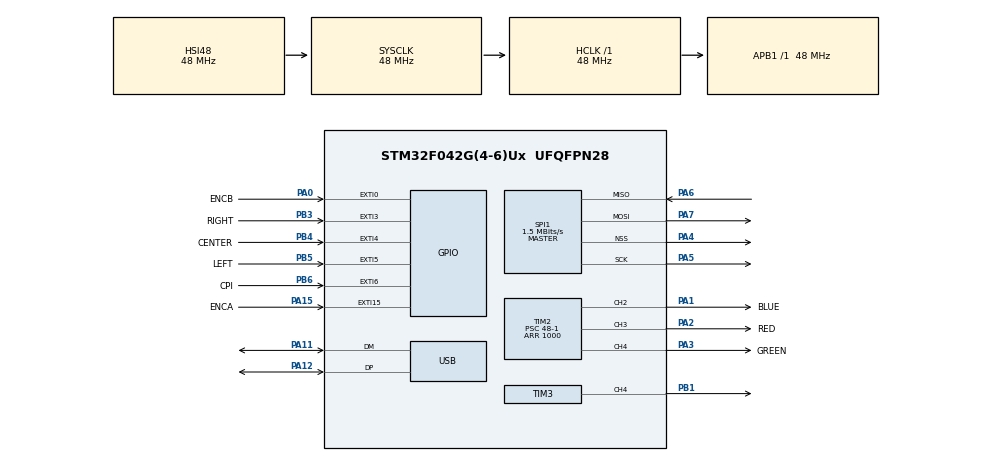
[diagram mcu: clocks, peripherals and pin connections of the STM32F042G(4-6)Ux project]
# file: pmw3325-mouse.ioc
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Mcu.Family=STM32F0
Mcu.Name=STM32F042G(4-6)Ux
Mcu.Package=UFQFPN28
NVIC.EXTI0_1_IRQn=true\:3\:0\:true\:false\:true\:true\:true\:true
NVIC.EXTI2_3_IRQn=true\:0\:0\:false\:false\:true\:true\:true\:true
NVIC.EXTI4_15_IRQn=true\:3\:0\:true\:false\:true\:true\:true\:true
NVIC.SPI1_IRQn=true\:0\:0\:false\:false\:true\:true\:true\:true
NVIC.USB_IRQn=true\:0\:0\:false\:false\:true\:false\:true\:true
PA0.GPIO_Label=ENCB
PA0.GPIO_ModeDefaultEXTI=GPIO_MODE_IT_RISING_FALLING
PA0.GPIO_PuPd=GPIO_PULLUP
PA0.Signal=GPXTI0
PA1.GPIO_Label=BLUE
PA1.Signal=S_TIM2_CH2
PA11.Mode=Device
PA11.Signal=USB_DM
PA12.Mode=Device
PA12.Signal=USB_DP
PA15.GPIO_Label=ENCA
PA15.GPIO_ModeDefaultEXTI=GPIO_MODE_IT_RISING_FALLING
PA15.GPIO_PuPd=GPIO_PULLUP
PA15.Signal=GPXTI15
PA2.GPIO_Label=RED
PA2.Signal=S_TIM2_CH3
PA3.GPIO_Label=GREEN
PA3.Signal=S_TIM2_CH4
PA4.Mode=NSS_Signal_Hard_Output
PA4.Signal=SPI1_NSS
PA5.Mode=Full_Duplex_Master
PA5.Signal=SPI1_SCK
PA6.Mode=Full_Duplex_Master
PA6.Signal=SPI1_MISO
PA7.Mode=Full_Duplex_Master
PA7.Signal=SPI1_MOSI
PB1.Signal=S_TIM3_CH4
PB3.GPIO_Label=RIGHT
PB3.GPIO_ModeDefaultEXTI=GPIO_MODE_IT_RISING_FALLING
PB3.GPIO_PuPd=GPIO_PULLUP
PB3.Signal=GPXTI3
PB4.GPIO_Label=CENTER
PB4.GPIO_ModeDefaultEXTI=GPIO_MODE_IT_RISING_FALLING
PB4.GPIO_PuPd=GPIO_PULLUP
PB4.Signal=GPXTI4
PB5.GPIO_Label=LEFT
PB5.GPIO_ModeDefaultEXTI=GPIO_MODE_IT_RISING_FALLING
PB5.GPIO_PuPd=GPIO_PULLUP
PB5.Signal=GPXTI5
PB6.GPIO_Label=CPI
PB6.GPIO_ModeDefaultEXTI=GPIO_MODE_IT_RISING_FALLING
PB6.GPIO_PuPd=GPIO_PULLUP
PB6.Signal=GPXTI6
ProjectManager.HeapSize=0x200
ProjectManager.StackSize=0x400
ProjectManager.TargetToolchain=CMake
RCC.AHBFreq_Value=48000000
RCC.APB1Freq_Value=48000000
RCC.APB1TimFreq_Value=48000000
RCC.HCLKFreq_Value=48000000
RCC.PLLDivider=RCC_PREDIV_DIV16
RCC.SYSCLKFreq_VALUE=48000000
RCC.SYSCLKSource=RCC_SYSCLKSOURCE_HSI48
RCC.USBFreq_Value=48000000
SH.S_TIM2_CH2.0=TIM2_CH2,PWM Generation2 CH2
SH.S_TIM2_CH3.0=TIM2_CH3,PWM Generation3 CH3
SH.S_TIM2_CH4.0=TIM2_CH4,PWM Generation4 CH4
SH.S_TIM3_CH4.0=TIM3_CH4,PWM Generation4 CH4
SPI1.BaudRatePrescaler=SPI_BAUDRATEPRESCALER_32
SPI1.CLKPhase=SPI_PHASE_2EDGE
SPI1.CLKPolarity=SPI_POLARITY_HIGH
SPI1.CalculateBaudRate=1.5 MBits/s
SPI1.DataSize=SPI_DATASIZE_8BIT
SPI1.Direction=SPI_DIRECTION_2LINES
SPI1.Mode=SPI_MODE_MASTER
SPI1.VirtualNSS=VM_NSSHARD
SPI1.VirtualType=VM_MASTER
TIM2.Channel-PWM\ Generation2\ CH2=TIM_CHANNEL_2
TIM2.Channel-PWM\ Generation3\ CH3=TIM_CHANNEL_3
TIM2.Channel-PWM\ Generation4\ CH4=TIM_CHANNEL_4
TIM2.Period=1000
TIM2.Prescaler=48-1
TIM3.Channel-PWM\ Generation4\ CH4=TIM_CHANNEL_4
TIM3.Period=100
TIM3.Prescaler=24-1
USB_DEVICE.CLASS_NAME_FS=HID
USB_DEVICE.HID_FS_BINTERVAL=0x01
USB_DEVICE.VirtualMode=Hid
USB_DEVICE.VirtualModeFS=Hid_FS
VP_SYS_VS_PINREMAP.Mode=PINREMAP
VP_TIM2_VS_ClockSourceINT.Mode=Internal
VP_TIM3_VS_ClockSourceINT.Mode=Internal
VP_USB_DEVICE_VS_USB_DEVICE_HID_FS.Mode=HID_FS
board=custom

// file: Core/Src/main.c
/* USER CODE BEGIN Header */
/**
 ******************************************************************************
 * @file           : main.c
 * @brief          : Main program body
 ******************************************************************************
 * @attention
 *
 * Copyright (c) 2024 STMicroelectronics.
 * All rights reserved.
 *
 * This software is licensed under terms that can be found in the LICENSE file
 * in the root directory of this software component.
 * If no LICENSE file comes with this software, it is provided AS-IS.
 *
 ******************************************************************************
 */
/* USER CODE END Header */
#include "main.h"
#include "usb_device.h"

/* USER CODE BEGIN Includes */
#include "Rotary.h"
#include "sensor.h"
#include "usbd_hid.h"
#include <stdbool.h>
/* USER CODE END Includes */

SPI_HandleTypeDef hspi1;

TIM_HandleTypeDef htim2;
TIM_HandleTypeDef htim3;

/* USER CODE BEGIN PV */
extern USBD_HandleTypeDef hUsbDeviceFS;
/* USER CODE END PV */

void SystemClock_Config(void);
static void MX_GPIO_Init(void);
static void MX_SPI1_Init(void);
static void MX_TIM2_Init(void);
static void MX_TIM3_Init(void);

/* USER CODE BEGIN 0 */

#define POLLING_MS 1

uint8_t rxDummy = 0x03;

bool buttonLeftPressed = 0;
bool buttonRightPressed = 0;

bool buttonCenterPressed = 0;
bool buttonCPIPressed = 0;

volatile int8_t scrollDirRaw = 0;
volatile uint8_t scrollDir = 0;

bool ENCA = 0;
bool ENCB = 0;

uint8_t HID_Buffer[4];

void processEncoder() {

  ENCA = HAL_GPIO_ReadPin(ENCA_GPIO_Port, ENCA_Pin);
  ENCB = HAL_GPIO_ReadPin(ENCB_GPIO_Port, ENCB_Pin);

  scrollDirRaw = Pin_process(ENCA, ENCB);
  if (scrollDirRaw == DIR_NONE)
    scrollDir = 0x00;
  else
    scrollDir = scrollDirRaw == DIR_CW ? 0x01 : 0xFF;
}

void setVibraPWM(uint8_t value);

void HAL_GPIO_EXTI_Callback(uint16_t GPIO_Pin) {
  switch (GPIO_Pin) {
  case (LEFT_Pin):
    buttonLeftPressed = !HAL_GPIO_ReadPin(LEFT_GPIO_Port, LEFT_Pin);
    break;
  case (RIGHT_Pin):
    buttonRightPressed = !HAL_GPIO_ReadPin(RIGHT_GPIO_Port, RIGHT_Pin);
    break;
  case (CENTER_Pin):
    buttonCenterPressed = !HAL_GPIO_ReadPin(CENTER_GPIO_Port, CENTER_Pin);
    break;
  case (CPI_Pin):
    buttonCPIPressed = !HAL_GPIO_ReadPin(CPI_GPIO_Port, CPI_Pin);
    break;
  case (ENCA_Pin):
    ENCA = HAL_GPIO_ReadPin(ENCA_GPIO_Port, ENCA_Pin);
    break;
  case (ENCB_Pin):
    ENCB = HAL_GPIO_ReadPin(ENCB_GPIO_Port, ENCB_Pin);
    break;
  }
}

void HAL_SPI_TxCpltCallback(SPI_HandleTypeDef *hspi) { sensorTxCallback(); }

void HAL_SPI_RxCpltCallback(SPI_HandleTypeDef *hspi) { sensorRxCallback(); }

uint8_t cpiMode = 0;
bool shouldChangeCPI = 0;
bool doubleClickEnabled = false;
uint32_t lastCpiPressTime = 0;
uint32_t cpiPressStartTime = 0;
bool cpiButtonHeld = false;

#define DEBOUNCE_DELAY 150    // 150 ms debounce delay
#define LONG_PRESS_DELAY 3000 // 3000 ms (3 seconds) long press delay

bool vibraEnabled = true;

void processCPI() {
  uint32_t currentTime = HAL_GetTick();

  if(buttonCPIPressed && buttonLeftPressed) {
    vibraEnabled = false;
    return;
  }

  if(buttonCPIPressed && buttonRightPressed) {
    vibraEnabled = true;
    return;
  }

  if (buttonCPIPressed && !cpiButtonHeld) {
    cpiButtonHeld = true;
    cpiPressStartTime = currentTime;
  }

  if (!buttonCPIPressed && cpiButtonHeld) {
    cpiButtonHeld = false;
    if ((currentTime - lastCpiPressTime) > DEBOUNCE_DELAY) {
    if ((currentTime - lastCpiPressTime) > DEBOUNCE_DELAY) {
      shouldChangeCPI = 1;
      lastCpiPressTime = currentTime;
    }
  }

  if (cpiButtonHeld && (currentTime - cpiPressStartTime) > LONG_PRESS_DELAY) {
    doubleClickEnabled = !doubleClickEnabled;
    cpiButtonHeld = false; // Reset the hold state
  }

  if (shouldChangeCPI) {
    cpiMode++;
    if (cpiMode > 5)
      cpiMode = 0;
    shouldChangeCPI = 0;
    buttonCPIPressed = 0;

    uint8_t reg = RESOLUTION;
    uint8_t data;

    switch (cpiMode) {
    case 0:
      data = 0x00;
      break;
    case 1:
      data = 0x05;
      break;
    case 2:
      data = 0x09;
      break;
    case 3:
      data = 0x17;
      break;
    case 4:
      data = 0x2F;
      break;
    case 5:
      data = 0x5F;
      break;
    }
    sensorWrite(&reg, &data);
  }
}

uint32_t lastReportTime = 0;

// TODO: Implement double click mode
void doubleClick() {}

int8_t signedX;
int8_t signedY;

void setVibraPWM(uint8_t value) {
  if (value > 80)
    value = 80;

  __HAL_TIM_SET_COMPARE(&htim3, TIM_CHANNEL_4, value);
}

uint8_t getVibraPWM(int8_t deltaX, int8_t deltaY) {
  uint8_t absDeltaX = (deltaX < 0) ? -deltaX : deltaX;
  uint8_t absDeltaY = (deltaY < 0) ? -deltaY : deltaY;

  uint8_t sum = absDeltaX + absDeltaY;

  uint8_t vibraPercent;
  if (sum < 10)
    vibraPercent = sum * 10;
  else if (sum < 50)
    vibraPercent = 100 + (sum - 10) * 2;
  else
    vibraPercent = 180 + (sum - 50);

  if (vibraPercent > 70)
    vibraPercent = 70;

  return vibraPercent + 10;
}

bool shouldVibrateButton = 0;
bool buttonPressed = 0;
uint32_t lastButtonVibraTime = 0;
uint32_t buttonPressStartTime = 0;
uint32_t scrollVibraStartTime = 0;
bool scrollVibraActive = 0;

void processVibra() {

  if(!vibraEnabled) {
    __HAL_TIM_SET_COMPARE(&htim3, TIM_CHANNEL_4, 0);
    return;
  }

  signedX = (int8_t)getSensorDeltaX();
  signedY = (int8_t)getSensorDeltaY();

  uint8_t value = (getVibraPWM(signedX, signedY) * 0.7);
  uint32_t currentTime = HAL_GetTick();

  if (buttonLeftPressed || buttonRightPressed || buttonCenterPressed || buttonCPIPressed || scrollDir != 0) {
    if (!buttonPressed) {
      buttonPressed = 1;
      buttonPressStartTime = currentTime;
      shouldVibrateButton = 1;
    }

    if (scrollDir != 0 && !scrollVibraActive) {
      scrollVibraStartTime = currentTime;
      scrollVibraActive = 1;
    }

    if (shouldVibrateButton && (currentTime - buttonPressStartTime) < 60) {
      value = 50;
    } else {
      shouldVibrateButton = 0;
    }

    lastButtonVibraTime = currentTime;
  } else {
    buttonPressed = 0;
    shouldVibrateButton = 0;
  }

  if (scrollVibraActive && (currentTime - scrollVibraStartTime) < 20) {
    value = 60;
  } else {
    scrollVibraActive = 0;
  }

  if (value > 80)
    value = 80;

  __HAL_TIM_SET_COMPARE(&htim3, TIM_CHANNEL_4, value);
}

void processMouse() {
  processCPI();

  if ((HAL_GetTick() - lastReportTime) >= POLLING_MS) {
    lastReportTime = HAL_GetTick();

    processSensor();
    processEncoder();
    processVibra();

    HID_Buffer[0] = 0;
    HID_Buffer[0] = (buttonLeftPressed << 0) | (buttonRightPressed << 1) |
                    (buttonCenterPressed << 2);

    HID_Buffer[1] = getSensorDeltaX();
    HID_Buffer[2] = getSensorDeltaY();
    HID_Buffer[3] = scrollDir;

    USBD_HID_SendReport(&hUsbDeviceFS, HID_Buffer, 4);
  }
}

void initVibra() { HAL_TIM_PWM_Start(&htim3, TIM_CHANNEL_4); }

void initLEDs() {
  HAL_TIM_PWM_Start(&htim2, TIM_CHANNEL_2);
  HAL_TIM_PWM_Start(&htim2, TIM_CHANNEL_3);
  HAL_TIM_PWM_Start(&htim2, TIM_CHANNEL_4);
}

uint32_t lastLEDUpdateTime = 0;
uint16_t pwmValueRed = 1000;
uint16_t pwmValueGreen = 0;
uint16_t pwmValueBlue = 0;
int8_t directionRed = -1;
int8_t directionGreen = 1;
int8_t directionBlue = 0;

void processLEDs() {
  uint32_t currentTime = HAL_GetTick();

  if ((currentTime - lastLEDUpdateTime) >= 10) {
    lastLEDUpdateTime = currentTime;

    pwmValueRed += directionRed;
    pwmValueGreen += directionGreen;
    pwmValueBlue += directionBlue;

    if (pwmValueRed == 1000 && pwmValueGreen == 0 && pwmValueBlue == 0) {
      directionRed = -1;
      directionGreen = 1;
      directionBlue = 0;
    } else if (pwmValueRed == 0 && pwmValueGreen == 1000 && pwmValueBlue == 0) {
      directionRed = 0;
      directionGreen = -1;
      directionBlue = 1;
    } else if (pwmValueRed == 0 && pwmValueGreen == 0 && pwmValueBlue == 1000) {
      directionRed = 1;
      directionGreen = 0;
      directionBlue = -1;
    }

    __HAL_TIM_SET_COMPARE(&htim2, TIM_CHANNEL_2, pwmValueBlue);  // BLUE
    __HAL_TIM_SET_COMPARE(&htim2, TIM_CHANNEL_3, pwmValueRed);   // RED
    __HAL_TIM_SET_COMPARE(&htim2, TIM_CHANNEL_4, pwmValueGreen); // GREEN
  }
}

/* USER CODE END 0 */

int main(void)
{

  /* MCU Configuration--------------------------------------------------------*/

  /* Reset of all peripherals, Initializes the Flash interface and the Systick. */
  HAL_Init();

  /* Configure the system clock */
  SystemClock_Config();

  /* Initialize all configured peripherals */
  MX_GPIO_Init();
  MX_USB_DEVICE_Init();
  MX_SPI1_Init();
  MX_TIM2_Init();
  MX_TIM3_Init();
  /* USER CODE BEGIN 2 */
  powerUpSensor();
  testSensor();
  initLEDs();
  initVibra();
  /* USER CODE END 2 */

  /* Infinite loop */
  /* USER CODE BEGIN WHILE */
  while (1) {
    processMouse();
    processLEDs();
    /* USER CODE END WHILE */

  }
}

void SystemClock_Config(void)
{
  RCC_OscInitTypeDef RCC_OscInitStruct = {0};
  RCC_ClkInitTypeDef RCC_ClkInitStruct = {0};
  RCC_PeriphCLKInitTypeDef PeriphClkInit = {0};

  /** Initializes the RCC Oscillators according to the specified parameters
  * in the RCC_OscInitTypeDef structure.
  */
  RCC_OscInitStruct.OscillatorType = RCC_OSCILLATORTYPE_HSI48;
  RCC_OscInitStruct.HSI48State = RCC_HSI48_ON;
  RCC_OscInitStruct.PLL.PLLState = RCC_PLL_NONE;
  if (HAL_RCC_OscConfig(&RCC_OscInitStruct) != HAL_OK)
  {
    Error_Handler();
  }

  /** Initializes the CPU, AHB and APB buses clocks
  */
  RCC_ClkInitStruct.ClockType = RCC_CLOCKTYPE_HCLK|RCC_CLOCKTYPE_SYSCLK
                              |RCC_CLOCKTYPE_PCLK1;
  RCC_ClkInitStruct.SYSCLKSource = RCC_SYSCLKSOURCE_HSI48;
  RCC_ClkInitStruct.AHBCLKDivider = RCC_SYSCLK_DIV1;
  RCC_ClkInitStruct.APB1CLKDivider = RCC_HCLK_DIV1;

  if (HAL_RCC_ClockConfig(&RCC_ClkInitStruct, FLASH_LATENCY_1) != HAL_OK)
  {
    Error_Handler();
  }
  PeriphClkInit.PeriphClockSelection = RCC_PERIPHCLK_USB;
  PeriphClkInit.UsbClockSelection = RCC_USBCLKSOURCE_HSI48;

  if (HAL_RCCEx_PeriphCLKConfig(&PeriphClkInit) != HAL_OK)
  {
    Error_Handler();
  }
}

static void MX_SPI1_Init(void)
{

  /* SPI1 parameter configuration*/
  hspi1.Instance = SPI1;
  hspi1.Init.Mode = SPI_MODE_MASTER;
  hspi1.Init.Direction = SPI_DIRECTION_2LINES;
  hspi1.Init.DataSize = SPI_DATASIZE_8BIT;
  hspi1.Init.CLKPolarity = SPI_POLARITY_HIGH;
  hspi1.Init.CLKPhase = SPI_PHASE_2EDGE;
  hspi1.Init.NSS = SPI_NSS_HARD_OUTPUT;
  hspi1.Init.BaudRatePrescaler = SPI_BAUDRATEPRESCALER_32;
  hspi1.Init.FirstBit = SPI_FIRSTBIT_MSB;
  hspi1.Init.TIMode = SPI_TIMODE_DISABLE;
  hspi1.Init.CRCCalculation = SPI_CRCCALCULATION_DISABLE;
  hspi1.Init.CRCPolynomial = 7;
  hspi1.Init.CRCLength = SPI_CRC_LENGTH_DATASIZE;
  hspi1.Init.NSSPMode = SPI_NSS_PULSE_DISABLE;
  if (HAL_SPI_Init(&hspi1) != HAL_OK)
  {
    Error_Handler();
  }

}

static void MX_TIM2_Init(void)
{

  TIM_ClockConfigTypeDef sClockSourceConfig = {0};
  TIM_MasterConfigTypeDef sMasterConfig = {0};
  TIM_OC_InitTypeDef sConfigOC = {0};

  htim2.Instance = TIM2;
  htim2.Init.Prescaler = 48-1;
  htim2.Init.CounterMode = TIM_COUNTERMODE_UP;
  htim2.Init.Period = 1000;
  htim2.Init.ClockDivision = TIM_CLOCKDIVISION_DIV1;
  htim2.Init.AutoReloadPreload = TIM_AUTORELOAD_PRELOAD_DISABLE;
  if (HAL_TIM_Base_Init(&htim2) != HAL_OK)
  {
    Error_Handler();
  }
  sClockSourceConfig.ClockSource = TIM_CLOCKSOURCE_INTERNAL;
  if (HAL_TIM_ConfigClockSource(&htim2, &sClockSourceConfig) != HAL_OK)
  {
    Error_Handler();
  }
  if (HAL_TIM_PWM_Init(&htim2) != HAL_OK)
  {
    Error_Handler();
  }
  sMasterConfig.MasterOutputTrigger = TIM_TRGO_RESET;
  sMasterConfig.MasterSlaveMode = TIM_MASTERSLAVEMODE_DISABLE;
  if (HAL_TIMEx_MasterConfigSynchronization(&htim2, &sMasterConfig) != HAL_OK)
  {
    Error_Handler();
  }
  sConfigOC.OCMode = TIM_OCMODE_PWM1;
  sConfigOC.Pulse = 0;
  sConfigOC.OCPolarity = TIM_OCPOLARITY_HIGH;
  sConfigOC.OCFastMode = TIM_OCFAST_DISABLE;
  if (HAL_TIM_PWM_ConfigChannel(&htim2, &sConfigOC, TIM_CHANNEL_2) != HAL_OK)
  {
    Error_Handler();
  }
  if (HAL_TIM_PWM_ConfigChannel(&htim2, &sConfigOC, TIM_CHANNEL_3) != HAL_OK)
  {
    Error_Handler();
  }
  if (HAL_TIM_PWM_ConfigChannel(&htim2, &sConfigOC, TIM_CHANNEL_4) != HAL_OK)
  {
    Error_Handler();
  }
  HAL_TIM_MspPostInit(&htim2);

}

static void MX_TIM3_Init(void)
{

  TIM_ClockConfigTypeDef sClockSourceConfig = {0};
  TIM_MasterConfigTypeDef sMasterConfig = {0};
  TIM_OC_InitTypeDef sConfigOC = {0};

  htim3.Instance = TIM3;
  htim3.Init.Prescaler = 24-1;
  htim3.Init.CounterMode = TIM_COUNTERMODE_UP;
  htim3.Init.Period = 100;
  htim3.Init.ClockDivision = TIM_CLOCKDIVISION_DIV1;
  htim3.Init.AutoReloadPreload = TIM_AUTORELOAD_PRELOAD_DISABLE;
  if (HAL_TIM_Base_Init(&htim3) != HAL_OK)
  {
    Error_Handler();
  }
  sClockSourceConfig.ClockSource = TIM_CLOCKSOURCE_INTERNAL;
  if (HAL_TIM_ConfigClockSource(&htim3, &sClockSourceConfig) != HAL_OK)
  {
    Error_Handler();
  }
  if (HAL_TIM_PWM_Init(&htim3) != HAL_OK)
  {
    Error_Handler();
  }
  sMasterConfig.MasterOutputTrigger = TIM_TRGO_RESET;
  sMasterConfig.MasterSlaveMode = TIM_MASTERSLAVEMODE_DISABLE;
  if (HAL_TIMEx_MasterConfigSynchronization(&htim3, &sMasterConfig) != HAL_OK)
  {
    Error_Handler();
  }
  sConfigOC.OCMode = TIM_OCMODE_PWM1;
  sConfigOC.Pulse = 0;
  sConfigOC.OCPolarity = TIM_OCPOLARITY_HIGH;
  sConfigOC.OCFastMode = TIM_OCFAST_DISABLE;
  if (HAL_TIM_PWM_ConfigChannel(&htim3, &sConfigOC, TIM_CHANNEL_4) != HAL_OK)
  {
    Error_Handler();
  }
  HAL_TIM_MspPostInit(&htim3);

}

static void MX_GPIO_Init(void)
{
  GPIO_InitTypeDef GPIO_InitStruct = {0};

  /* GPIO Ports Clock Enable */
  __HAL_RCC_GPIOA_CLK_ENABLE();
  __HAL_RCC_GPIOB_CLK_ENABLE();

  /*Configure GPIO pins : ENCB_Pin ENCA_Pin */
  GPIO_InitStruct.Pin = ENCB_Pin|ENCA_Pin;
  GPIO_InitStruct.Mode = GPIO_MODE_IT_RISING_FALLING;
  GPIO_InitStruct.Pull = GPIO_PULLUP;
  HAL_GPIO_Init(GPIOA, &GPIO_InitStruct);

  /*Configure GPIO pins : RIGHT_Pin CENTER_Pin LEFT_Pin CPI_Pin */
  GPIO_InitStruct.Pin = RIGHT_Pin|CENTER_Pin|LEFT_Pin|CPI_Pin;
  GPIO_InitStruct.Mode = GPIO_MODE_IT_RISING_FALLING;
  GPIO_InitStruct.Pull = GPIO_PULLUP;
  HAL_GPIO_Init(GPIOB, &GPIO_InitStruct);

  /* EXTI interrupt init*/
  HAL_NVIC_SetPriority(EXTI0_1_IRQn, 3, 0);
  HAL_NVIC_EnableIRQ(EXTI0_1_IRQn);

  HAL_NVIC_SetPriority(EXTI2_3_IRQn, 0, 0);
  HAL_NVIC_EnableIRQ(EXTI2_3_IRQn);

  HAL_NVIC_SetPriority(EXTI4_15_IRQn, 3, 0);
  HAL_NVIC_EnableIRQ(EXTI4_15_IRQn);

}

void Error_Handler(void)
{
  __disable_irq();
  while (1) {
  }
}

#ifdef  USE_FULL_ASSERT
/**
  * @brief  Reports the name of the source file and the source line number
  *         where the assert_param error has occurred.
  * @param  file: pointer to the source file name
  * @param  line: assert_param error line source number
  * @retval None
  */
void assert_failed(uint8_t *file, uint32_t line)
{
  /* USER CODE BEGIN 6 */
  /* User can add his own implementation to report the file name and line
     number, ex: printf("Wrong parameters value: file %s on line %d\r\n", file,
     line) */
  /* USER CODE END 6 */
}
#endif /* USE_FULL_ASSERT */
